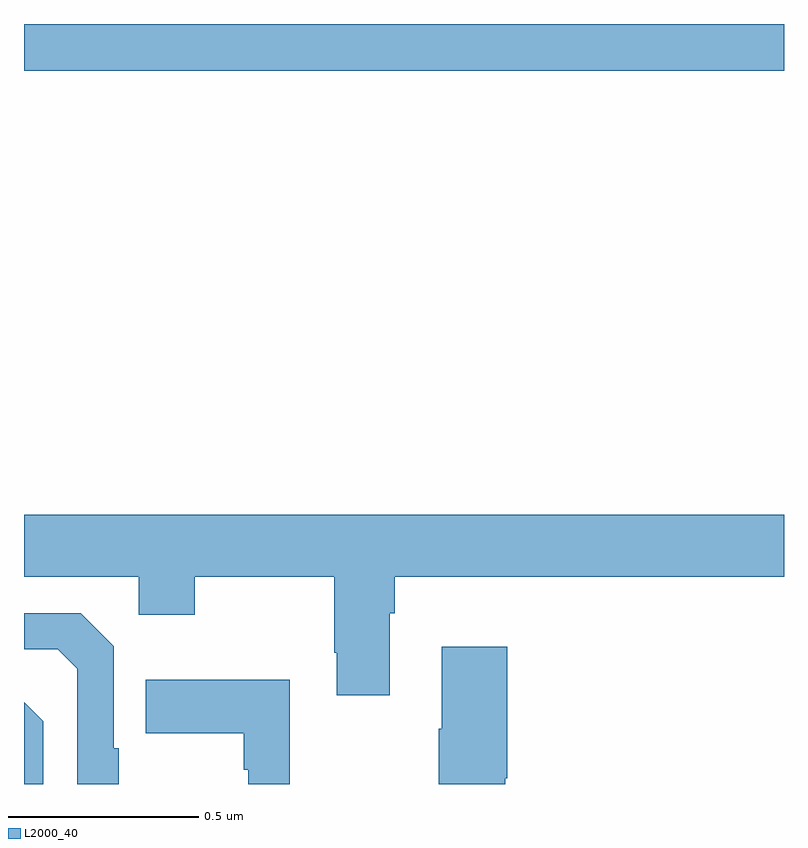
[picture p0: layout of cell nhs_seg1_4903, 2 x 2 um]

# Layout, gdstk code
import gdstk
lib = gdstk.Library(unit=1e-6, precision=1e-09)
def R(c, l, rs):  # rectangles x0, y0, x1, y1
    for r in rs: c.add(gdstk.rectangle(r[:2], r[2:], *l))
def P(c, l, *ps):  # polygons
    for p in ps: c.add(gdstk.Polygon(p, *l))
L2000_40 = (2000, 40)

nhs_seg1_4903 = lib.new_cell('nhs_seg1_4903')
R(nhs_seg1_4903, L2000_40, [(172,541.076,174,541.199)])
P(nhs_seg1_4903, L2000_40, [(172.963,539.648),(172.976,539.648),(172.976,539.744),(174,539.744),(174,539.908),(172,539.908),(172,539.744),(172.302,539.744),(172.302,539.645),(172.449,539.645),(172.449,539.744),(172.816,539.744),(172.816,539.545),(172.823,539.545),(172.823,539.433),(172.963,539.433)],
  [(172.249,539.293),(172.236,539.293),(172.236,539.562),(172.149,539.649),(172,539.649),(172,539.553),(172.089,539.553),(172.14,539.502),(172.14,539.199),(172.249,539.199)],
  [(173.267,539.214),(173.272,539.214),(173.272,539.56),(173.099,539.56),(173.099,539.345),(173.092,539.345),(173.092,539.199),(173.267,539.199)],
  [(172.699,539.473),(172.321,539.473),(172.321,539.333),(172.578,539.333),(172.578,539.237),(172.59,539.237),(172.59,539.199),(172.699,539.199)],
  [(172.05,539.364),(172,539.414),(172,539.199),(172.05,539.199)])

lib.write_gds('nhs_seg1_4903.gds')
